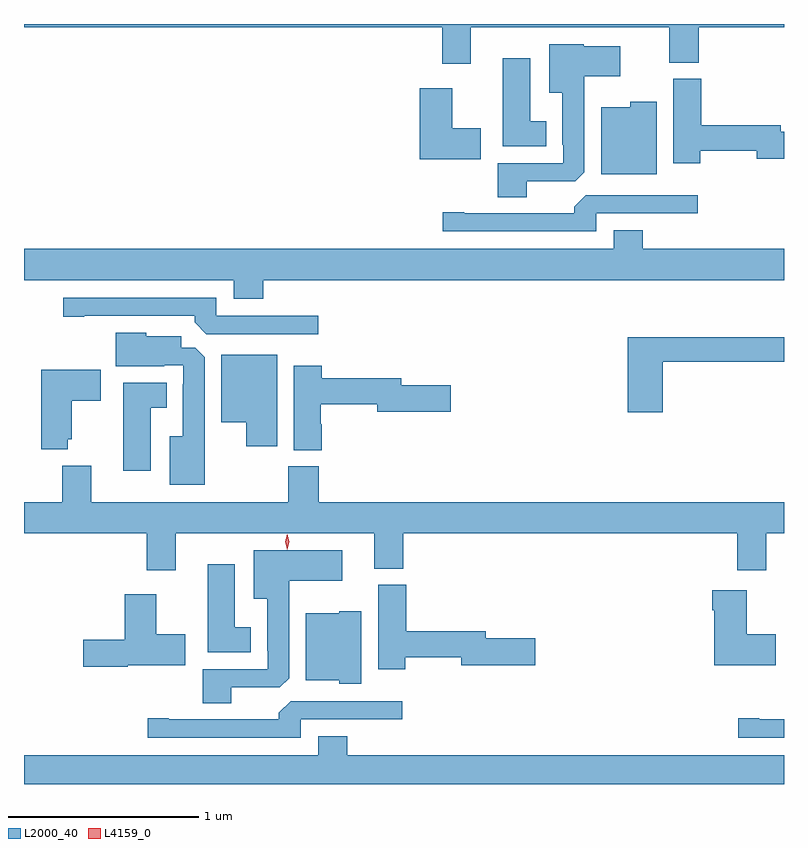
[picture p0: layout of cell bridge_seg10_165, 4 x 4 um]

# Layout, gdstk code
import gdstk
lib = gdstk.Library(unit=1e-6, precision=1e-09)
def P(c, l, *ps):  # polygons
    for p in ps: c.add(gdstk.Polygon(p, *l))
L2000_40 = (2000, 40)
L4159_0 = (4159, 0)

bridge_seg10_165 = lib.new_cell('bridge_seg10_165')
P(bridge_seg10_165, L2000_40, [(234.436,1284.332),(235.481,1284.332),(235.481,1284.145),(235.634,1284.145),(235.634,1284.332),(236.084,1284.332),(236.084,1284.348),(232.084,1284.348),(232.084,1284.332),(234.284,1284.332),(234.284,1284.138),(234.436,1284.138)],
  [(234.73,1283.52),(234.984,1283.52),(235.033,1283.569),(235.033,1284.074),(235.222,1284.074),(235.222,1284.232),(235.029,1284.232),(235.029,1284.241),(234.848,1284.241),(234.848,1283.987),(234.917,1283.987),(234.917,1283.713),(234.921,1283.713),(234.921,1283.616),(234.578,1283.616),(234.578,1283.437),(234.73,1283.437)],
  [(234.832,1283.836),(234.748,1283.836),(234.748,1284.169),(234.605,1284.169),(234.605,1283.705),(234.832,1283.705)],
  [(235.644,1283.68),(235.94,1283.68),(235.94,1283.638),(236.084,1283.638),(236.084,1283.78),(236.068,1283.78),(236.068,1283.816),(235.649,1283.816),(235.649,1284.06),(235.502,1284.06),(235.502,1283.616),(235.644,1283.616)],
  [(234.487,1283.799),(234.337,1283.799),(234.337,1284.01),(234.167,1284.01),(234.167,1283.636),(234.487,1283.636)],
  [(235.414,1283.938),(235.275,1283.938),(235.275,1283.911),(235.121,1283.911),(235.121,1283.558),(235.414,1283.558)],
  [(235.095,1283.352),(235.63,1283.352),(235.63,1283.448),(235.041,1283.448),(234.98,1283.386),(234.98,1283.352),(234.4,1283.352),(234.4,1283.357),(234.288,1283.357),(234.288,1283.256),(235.095,1283.256)],
  [(233.342,1283),(236.084,1283),(236.084,1283.164),(235.34,1283.164),(235.34,1283.263),(235.187,1283.263),(235.187,1283.164),(232.084,1283.164),(232.084,1283),(233.189,1283),(233.189,1282.901),(233.342,1282.901)],
  [(233.632,1282.812),(233.097,1282.812),(233.097,1282.908),(232.29,1282.908),(232.29,1282.807),(232.402,1282.807),(232.402,1282.812),(232.982,1282.812),(232.982,1282.778),(233.043,1282.716),(233.632,1282.716)],
  [(233.035,1282.595),(232.986,1282.644),(232.912,1282.644),(232.912,1282.705),(232.728,1282.705),(232.728,1282.723),(232.568,1282.723),(232.568,1282.547),(232.823,1282.547),(232.823,1282.551),(232.923,1282.551),(232.923,1282.451),(232.919,1282.451),(232.919,1282.177),(232.85,1282.177),(232.85,1281.923),(233.035,1281.923)],
  [(235.445,1282.57),(236.084,1282.57),(236.084,1282.699),(235.262,1282.699),(235.262,1282.305),(235.445,1282.305)],
  [(233.416,1282.606),(233.123,1282.606),(233.123,1282.253),(233.255,1282.253),(233.255,1282.125),(233.416,1282.125)],
  [(233.651,1282.241),(233.646,1282.241),(233.646,1282.348),(233.942,1282.348),(233.942,1282.306),(234.331,1282.306),(234.331,1282.448),(234.07,1282.448),(234.07,1282.484),(233.651,1282.484),(233.651,1282.549),(233.504,1282.549),(233.504,1282.105),(233.651,1282.105)],
  [(232.314,1282.163),(232.336,1282.163),(232.336,1282.366),(232.489,1282.366),(232.489,1282.528),(232.174,1282.528),(232.174,1282.109),(232.314,1282.109)],
  [(232.75,1282.328),(232.834,1282.328),(232.834,1282.459),(232.607,1282.459),(232.607,1281.996),(232.75,1281.996)],
  [(232.882,1281.668),(233.927,1281.668),(233.927,1281.481),(234.08,1281.481),(234.08,1281.668),(235.838,1281.668),(235.838,1281.474),(235.99,1281.474),(235.99,1281.668),(236.084,1281.668),(236.084,1281.832),(233.636,1281.832),(233.636,1282.02),(233.476,1282.02),(233.476,1281.832),(232.438,1281.832),(232.438,1282.024),(232.286,1282.024),(232.286,1281.832),(232.084,1281.832),(232.084,1281.668),(232.73,1281.668),(232.73,1281.474),(232.882,1281.474)],
  [(233.176,1280.856),(233.43,1280.856),(233.479,1280.905),(233.479,1281.419),(233.758,1281.419),(233.758,1281.577),(233.294,1281.577),(233.294,1281.323),(233.363,1281.323),(233.363,1281.049),(233.367,1281.049),(233.367,1280.952),(233.024,1280.952),(233.024,1280.773),(233.176,1280.773)],
  [(233.278,1281.172),(233.194,1281.172),(233.194,1281.505),(233.051,1281.505),(233.051,1281.041),(233.278,1281.041)],
  [(234.09,1281.016),(234.386,1281.016),(234.386,1280.974),(234.775,1280.974),(234.775,1281.116),(234.514,1281.116),(234.514,1281.152),(234.095,1281.152),(234.095,1281.396),(233.948,1281.396),(233.948,1280.952),(234.09,1280.952)],
  [(236.041,1281.135),(235.888,1281.135),(235.888,1281.367),(235.706,1281.367),(235.706,1281.263),(235.718,1281.263),(235.718,1280.972),(236.041,1280.972)],
  [(232.629,1280.972),(232.933,1280.972),(232.933,1281.135),(232.78,1281.135),(232.78,1281.346),(232.613,1281.346),(232.613,1281.107),(232.395,1281.107),(232.395,1280.965),(232.629,1280.965)],
  [(233.86,1281.256),(233.742,1281.256),(233.742,1281.247),(233.567,1281.247),(233.567,1280.894),(233.742,1280.894),(233.742,1280.876),(233.86,1280.876)],
  [(233.541,1280.688),(234.076,1280.688),(234.076,1280.784),(233.487,1280.784),(233.426,1280.722),(233.426,1280.688),(232.846,1280.688),(232.846,1280.693),(232.734,1280.693),(232.734,1280.592),(233.541,1280.592)],
  [(236.084,1280.688),(235.954,1280.688),(235.954,1280.693),(235.842,1280.693),(235.842,1280.592),(236.084,1280.592)],
  [(236.084,1280.5),(233.786,1280.5),(233.786,1280.599),(233.633,1280.599),(233.633,1280.5),(232.084,1280.5),(232.084,1280.348),(236.084,1280.348)])
P(bridge_seg10_165, L4159_0, [(233.469,1281.582),(233.469,1281.582),(233.459,1281.622),(233.469,1281.662),(233.469,1281.662),(233.469,1281.662),(233.479,1281.622),(233.47,1281.582)])

lib.write_gds('bridge_seg10_165.gds')
